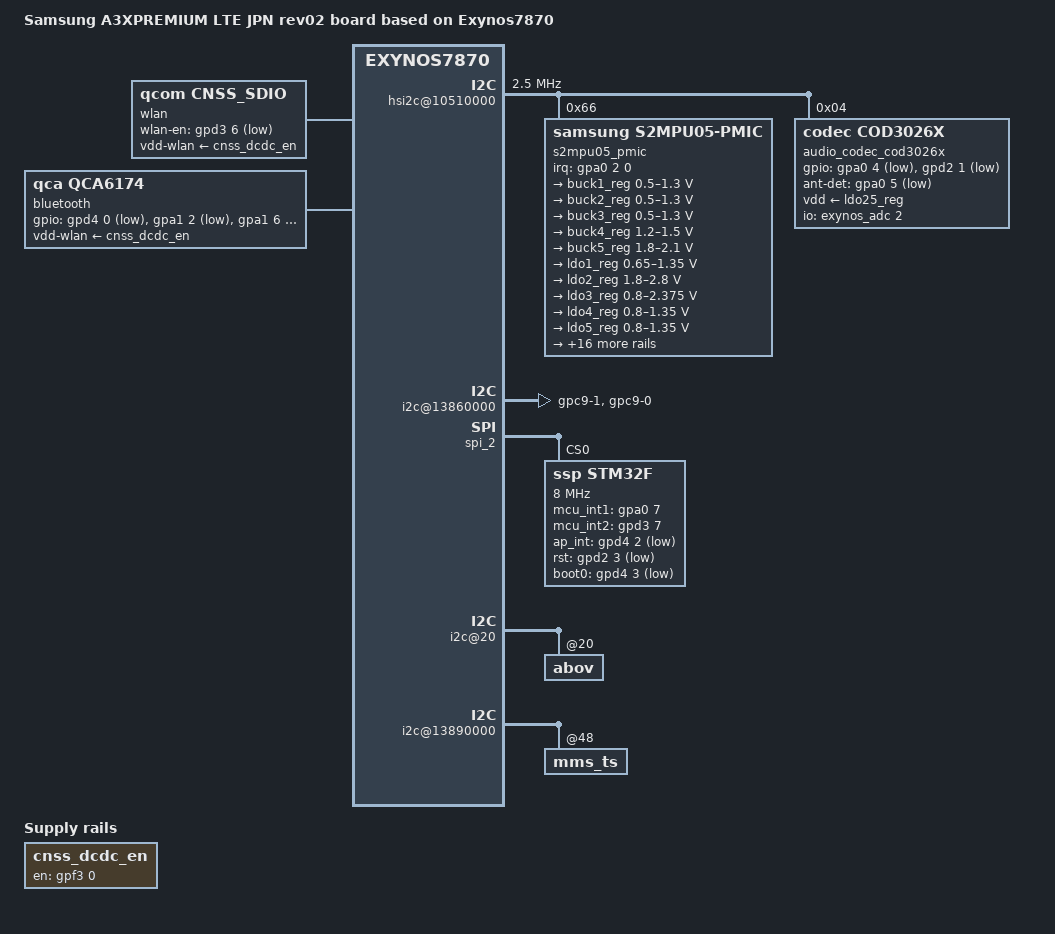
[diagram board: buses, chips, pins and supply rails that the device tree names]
/*
 * Copyright (c) 2016 Samsung Electronics Co., Ltd.
 *		http://www.samsung.com
 *
 * This program is free software; you can redistribute it and/or modify
 * it under the terms of the GNU General Public License version 2 as
 * published by the Free Software Foundation.
*/

/dts-v1/;
#include "modem-ss315ap-pdata.dtsi"
#include "exynos7870-a3xpremiumlte_common.dtsi"
#include "exynos7870-a3xpremiumlte_jpn_dcm_gpio_02.dtsi"
#include "exynos7870-a3xpremiumlte_jpn_dcm_battery_02.dtsi"
#include "exynos7870-a3xpremiumlte_fingerprint-sensor_02.dtsi"
#include "exynos7870-a3xpremiumlte_jpn-isdbt-00.dtsi"
#include "exynos7870-a3xpremiumlte_jpn_dcm_secnfc_tuner_r00.dtsi"

/ {
	model = "Samsung A3XPREMIUM LTE JPN rev02 board based on Exynos7870";
        model_info-chip = <7870>;
        model_info-platform = "android";
        model_info-subtype = "samsung";
        model_info-hw_rev = <2>;
        model_info-hw_rev_end = <2>;
	compatible = "samsung, A3XPREMIUM JPN DCM 02", "samsung,exynos7870";

	cnss_dcdc_en: cnss_dcdc_en {
		compatible = "regulator-fixed";
		regulator-name = "cnss_dcdc_en";
		startup-delay-us = <4000>;
		enable-active-high;
		gpio = <&gpf3 0 0>;
	};

	but_zones: but_zones {
		#list-but-cells = <3>;
	};

	s1402x: s1402x@14880000 {
		pinctrl-names = "default", "idle", "bt", "bt-idle";
		pinctrl-0 = <&i2s_pmic_amp_bus
			&i2s_bt_bus>;
		pinctrl-1 = <&i2s_pmic_amp_bus_idle
			&i2s_bt_bus_idle> ;
		pinctrl-2 = <&i2s_pmic_bus
			&i2s_amp_bus>;
		pinctrl-3 = <&i2s_bt_bus_idle>;
		/delete-property/ bck-mcko-mode;
		stand-alone-bt; /*Enable if for BT AP Master Mode*/
		status = "okay";
	};	

	hsi2c@10510000 {
		status = "okay";
		samsung,hs-mode;
		clock-frequency = <2500000>;
		samsung,hsi2c-batcher;
		#address-cells = <1>;
		#size-cells = <0>;

		s2mpu05_pmic@66 {
			compatible = "samsung,s2mpu05-pmic";
			reg = <0x66>;
			ten-bit-address;
			interrupts = <2 0 0>;
			interrupt-parent = <&gpa0>;
			pinctrl-names = "default";
			pinctrl-0 = <&pmic_irq &pm_wrsti>;
			g3d_en = <1>; /* 1 : enable , 0 : disable */
			buck2en_pin = "etc1-3";
			buck2en_addr = "139B0080.pinctrl";
			/* RTC: wtsr/smpl */
			wtsr_en = <1>; /* enable */
			smpl_en = <1>; /* enable */
			wtsr_timer_val = <3>;   /* 1000ms */
			smpl_timer_val = <0>;   /* 100ms */
			check_jigon = <0>; /* do not check jigon */
			/* RTC: If it's first boot, reset rtc to 1/1/2016 12:00:00(Fri) */
			init_time,sec = <0>;
			init_time,min = <0>;
			init_time,hour = <12>;
			init_time,mday = <1>;
			init_time,mon = <0>;
			init_time,year = <116>;
			init_time,wday = <5>;

			regulators {
				buck1_reg: BUCK1 {
					regulator-name = "BUCK1";
					regulator-min-microvolt = <500000>;
					regulator-max-microvolt = <1300000>;
					regulator-always-on;
					regulator-boot-on;
					regulator-ramp-delay = <12000>;
					regulator-initial-mode = <1>;
					regulator-expected-consumer = <2>;
				};

				buck2_reg: BUCK2 {
					regulator-name = "BUCK2";
					regulator-min-microvolt = <500000>;
					regulator-max-microvolt = <1300000>;
					regulator-always-on;
					regulator-boot-on;
					regulator-ramp-delay = <12000>;
					regulator-initial-mode = <2>;		/* MIF mode */
					regulator-expected-consumer = <4>;
				};

				buck3_reg: BUCK3 {
					regulator-name = "BUCK3";
					regulator-min-microvolt = <500000>;
					regulator-max-microvolt = <1300000>;
					regulator-always-on;
					regulator-boot-on;
					regulator-ramp-delay = <12000>;
					regulator-initial-mode = <2>;
				};

				buck4_reg: BUCK4 {
					regulator-name = "BUCK4";
					regulator-min-microvolt = <1200000>;
					regulator-max-microvolt = <1500000>;
					regulator-always-on;
					regulator-boot-on;
					regulator-ramp-delay = <12000>;
					regulator-initial-mode = <2>;
				};

				buck5_reg: BUCK5 {
					regulator-name = "BUCK5";
					regulator-min-microvolt = <1800000>;
					regulator-max-microvolt = <2100000>;
					regulator-always-on;
					regulator-boot-on;
					regulator-ramp-delay = <12000>;
					regulator-initial-mode = <2>;
				};

				ldo1_reg: LDO1 {
					regulator-name = "vdd_ldo1";
					regulator-min-microvolt = <650000>;
					regulator-max-microvolt = <1350000>;
					regulator-always-on;
					regulator-boot-on;
					regulator-ramp-delay = <12000>;
					regulator-initial-mode = <3>;
				};

				ldo2_reg: LDO2 {
					regulator-name = "vqmmc";
					regulator-min-microvolt = <1800000>;
					regulator-max-microvolt = <2800000>;
					regulator-ramp-delay = <12000>;
					regulator-initial-mode = <0>;
				};

				ldo3_reg: LDO3 {
					regulator-name = "vdd_ldo3";
					regulator-min-microvolt = <800000>;
					regulator-max-microvolt = <2375000>;
					regulator-boot-on;
					regulator-always-on;
					regulator-ramp-delay = <12000>;
					regulator-initial-mode = <3>;
				};

				ldo4_reg: LDO4 {
					regulator-name = "vdd_ldo4";
					regulator-min-microvolt = <800000>;
					regulator-max-microvolt = <1350000>;
					regulator-boot-on;
					regulator-always-on;
					regulator-ramp-delay = <12000>;
					regulator-initial-mode = <1>;
				};

				ldo5_reg: LDO5 {
					regulator-name = "vdd_ldo5";
					regulator-min-microvolt = <800000>;
					regulator-max-microvolt = <1350000>;
					regulator-boot-on;
					regulator-always-on;
					regulator-ramp-delay = <12000>;
					regulator-initial-mode = <3>;
				};

				ldo6_reg: LDO6 {
					regulator-name = "vdd_ldo6";
					regulator-min-microvolt = <800000>;
					regulator-max-microvolt = <1350000>;
					regulator-boot-on;
					regulator-always-on;
					regulator-ramp-delay = <12000>;
					regulator-initial-mode = <1>;
				};

				ldo7_reg: LDO7 {
					regulator-name = "vdd_ldo7";
					regulator-min-microvolt = <800000>;
					regulator-max-microvolt = <2375000>;
					regulator-boot-on;
					regulator-always-on;
					regulator-ramp-delay = <12000>;
					regulator-initial-mode = <1>;
				};

				ldo8_reg: LDO8 {
					regulator-name = "vdd_ldo8";
					regulator-min-microvolt = <1800000>;
					regulator-max-microvolt = <3375000>;
					regulator-boot-on;
					regulator-always-on;
					regulator-ramp-delay = <12000>;
					regulator-initial-mode = <1>;
				};

				ldo9_reg: LDO9 {
					regulator-name = "vdd_ldo9";
					regulator-min-microvolt = <650000>;
					regulator-max-microvolt = <1350000>;
					regulator-always-on;
					regulator-ramp-delay = <12000>;
					regulator-initial-mode = <1>;
				};

				ldo10_reg: LDO10 {
					regulator-name = "vdd_ldo10";
					regulator-min-microvolt = <650000>;
					regulator-max-microvolt = <1350000>;
					regulator-always-on;
					regulator-ramp-delay = <12000>;
					regulator-initial-mode = <1>;
				};

				ldo15_reg: LDO15 {
					regulator-name = "vdd_felica_1p8";
					regulator-min-microvolt = <1800000>;
					regulator-max-microvolt = <1800000>;
					regulator-always-on;
					regulator-ramp-delay = <12000>;
					regulator-initial-mode = <3>;
				};

				ldo25_reg: LDO25 {
					regulator-name = "vdd_ldo25";
					regulator-min-microvolt = <800000>;
					regulator-max-microvolt = <2375000>;
					regulator-ramp-delay = <12000>;
					regulator-initial-mode = <1>;
				};

				ldo26_reg: LDO26 {
					regulator-name = "vemmc";
					regulator-min-microvolt = <1800000>;
					regulator-max-microvolt = <3375000>;
					regulator-boot-on;
					regulator-ramp-delay = <12000>;
					regulator-initial-mode = <3>;
				};

				ldo27_reg: LDO27 {
					regulator-name = "vqemmc";
					regulator-min-microvolt = <800000>;
					regulator-max-microvolt = <2375000>;
					regulator-boot-on;
					regulator-ramp-delay = <12000>;
					regulator-initial-mode = <3>;
				};

				ldo29_reg: LDO29 {
					regulator-name = "LCD_3P0";
					regulator-min-microvolt = <3000000>;
					regulator-max-microvolt = <3000000>;
					regulator-boot-on;
					regulator-ramp-delay = <12000>;
					regulator-initial-mode = <3>;
				};

				ldo30_reg: LDO30 {
					regulator-name = "LCD_1P8";
					regulator-min-microvolt = <1800000>;
					regulator-max-microvolt = <1800000>;
					regulator-boot-on;
					regulator-ramp-delay = <12000>;
					regulator-initial-mode = <3>;
				};

				ldo31_reg: LDO31 {
					regulator-name = "vdd_ldo31";
					regulator-min-microvolt = <2950000>;
					regulator-max-microvolt = <2950000>;
					regulator-boot-on;
					regulator-always-on;
					regulator-ramp-delay = <12000>;
					regulator-initial-mode = <1>;
				};

				ldo32_reg: LDO32 {
					regulator-name = "VDD_MOTOR_3.3";
					regulator-min-microvolt = <3300000>;
					regulator-max-microvolt = <3300000>;
					regulator-ramp-delay = <12000>;
				};

				ldo33_reg: LDO33 {
					regulator-name = "vtouch_3.3v";
					regulator-min-microvolt = <3300000>;
					regulator-max-microvolt = <3300000>;
				};

				ldo34_reg: LDO34 {
					regulator-name = "tsp_avdd";
					regulator-min-microvolt = <3300000>;
					regulator-max-microvolt = <3300000>;
					regulator-boot-on;
				};

				ldo35_reg: LDO35 {
					regulator-name = "VDDIO_1.8V_CAM";
					regulator-min-microvolt = <1800000>;
					regulator-max-microvolt = <1800000>;
					regulator-initial-mode = <0>;
				};
			};
		};

		audio_codec_cod3026x: cod3026x@04 {
			compatible = "codec,cod3026x";
			reg = <0x04>;
			ten-bit-address;
			vdd-supply = <&ldo25_reg>;
			pinctrl-names = "default";
			pinctrl-0 = <&cod3026_irq>;
			interrupt-parent = <&gpa0>;
			gpios = <&gpa0 4 0xf &gpd2 1 0x1>;
			ant-det-gpio = <&gpa0 5 0xf>;
			mic-bias1-voltage = <1>;
			mic-bias2-voltage = <1>;
			mic-bias-ldo-voltage = <3>;
			use-det-adc-mode;
			use-det-gdet-adc-mode = <2>;
			io-channels = <&exynos_adc 2>;
			io-channel-names = "adc-jack";
			#io-channel-cells = <1>;
			io-channel-ranges;
			but-zones-list = <&but_zones 226 0 390>, /* send/end */
					<&but_zones 582 391 465>, /* google */
					<&but_zones 115 466 650>, /* vol up */
					<&but_zones 114 651 1100>; /* vol down */
			mic-adc-range = <1430>;
			ant-adc-range = <3560>;
			mic-det-delay = <550>;
		};
	};

	wlan {
		compatible = "qcom,cnss_sdio";
		wlan-en-gpio = <&gpd3 6 0x1>; /* WLAN_EN */
		wlan-host-wake = <&gpa2 2 0>; /* WLAN_HOST_WAKE */
		vdd-wlan-supply = <&cnss_dcdc_en>; /* DCDC_EN regulator */
		pinctrl-names = "default";
		pinctrl-0 = <&cnss_wlanen &cfg_wlanhostwake>;
		status = "okay";
	};

	pinctrl@13750000 {
		sd1_bus1: sd1-bus-width1 {
			samsung,pin-pud = <3>;
		};

		sd1_bus4: sd1-bus-width4 {
			samsung,pin-pud = <3>;
		};
	};
	
	bluetooth {
		compatible = "qca,qca6174";
		gpios = <&gpd4 0 0x1	/*BT_EN*/
				&gpa1 2 0x1	/*BT_WAKE*/
				&gpa1 6 0xF	/*BT_HOST_WAKE*/ >;
		vdd-wlan-supply = <&cnss_dcdc_en>; /* DCDC_EN regulator */
		pinctrl-names = "default";
		pinctrl-0=<&bt_hostwake &bt_btwake &bt_en>;
		status = "okay";
	};

	pinctrl@139F0000 {
		mpu_irq: mpu_irq {
			samsung,pins = "gpa2-3";
			samsung,pin-function = <0xf>;
			samsung,pin-pud = <1>;
			samsung,pin-drv = <0>;
		};
	};

	pinctrl@139B0000 {
		vibetonz_pwm: vibetonz_pwm {
			samsung,pins = "gpc0-1";
			samsung,pin-function = <2>; 
			samsung,pin-pud = <1>; 
			samsung,pin-drv = <0>; 
		};
		
		leden_gpio: leden_gpio {
			samsung,pins = "gpd4-6";
			samsung,pin-function = <1>;
			samsung,pin-pud = <0>;
			samsung,pin-val = <0>;
		};

		spk_amp_i2c: spk-amp-i2c {
			samsung,pins = "gpc9-1", "gpc9-0";
			samsung,pin-function = <2>;
			samsung,pin-pud = <0>;
		};
	};

	i2c@13860000 {
		status = "okay";
		samsung,i2c-max-bus-freq = <400000>;
		samsung,i2c-bus-num = <20>;
		pinctrl-names = "default";
		pinctrl-0 = <&spk_amp_i2c>;
	};

	/* SENSORHUB */
    spi_2: spi@13930000 {
        #address-cells = <1>;
        #size-cells = <0>;

        pinctrl-names = "default";
        pinctrl-0 = <&spi2_mosi_sck_ssn &spi2_miso>;

        num-cs = <1>;
        status = "okay";

		STM32F@0 {
			compatible = "ssp,STM32F";
			reg = <0>;
			spi-max-frequency = <8000000>;
			spi-cpol;
			spi-cpha;
			pinctrl-names = "default";
			pinctrl-0 = <&ssp_rst &ssp_ap_int &ssp_mcu_int1 &ssp_mcu_int2 &ssp_boot0>;

			gpio-controller;
			#gpio-cells = <2>;
			ssp,mcu_int1-gpio = <&gpa0 7 0x00>;
			ssp,mcu_int2-gpio = <&gpd3 7 0x00>;
			ssp,ap_int-gpio = <&gpd4 2 0x01>;
			ssp,rst-gpio = <&gpd2 3 0x01>;
			ssp,boot0-gpio = <&gpd4 3 0x1>;
			ssp,acc-position = <4>;
			ssp,mag-position = <5>;
			ssp-sns-combination = <0>;
			ssp,prox-hi_thresh = <70>;
			ssp,prox-low_thresh = <40>;
			ssp-ap-rev = <1>;
			ssp-mag-array = /bits/ 8 <0 0 0 0 0 0 0 0 0 0
						0 0 0 0 0 0 0 0 0 0
						0 0 0 0 0 0 0>;
			ssp-mag-type = <1>;
			ssp-glass-type = <0>;
			ssp-acc-type = <1>;
			ssp-pressure-type = <1>;


            controller-data {
                cs-gpio = <&gpc4 3 0>;
                samsung,spi-feedback-delay = <0>;
			};
        };
	};
	
	isa1000 {
		compatible = "isa1000";
		pinctrl-names = "default";
		pinctrl-0 = <&vibetonz_pwm>;
		isa1000_pdata {
			status = "okay";
			isa1000,max_timeout = <10000>;
			isa1000,pwm_use = <1>;
			isa1000,duty = <34290>;
			isa1000,period = <38100>;
			isa1000,pwm_id = <0>;
			isa1000,gpio_en = <&gpd2 0 0>;
			isa1000,regulator_name = "VDD_MOTOR_3.3";
		};
	};

	i2c@20{
		abov@20 {
			abov,fw_path = "abov/a96t316_a3xpre.fw";
		};
	};

	i2c@13890000 {
		mms_ts@48 {
			melfas,fw_name = "tsp_melfas/mms438_a3xpre_init.fw";
		};
	};
};
